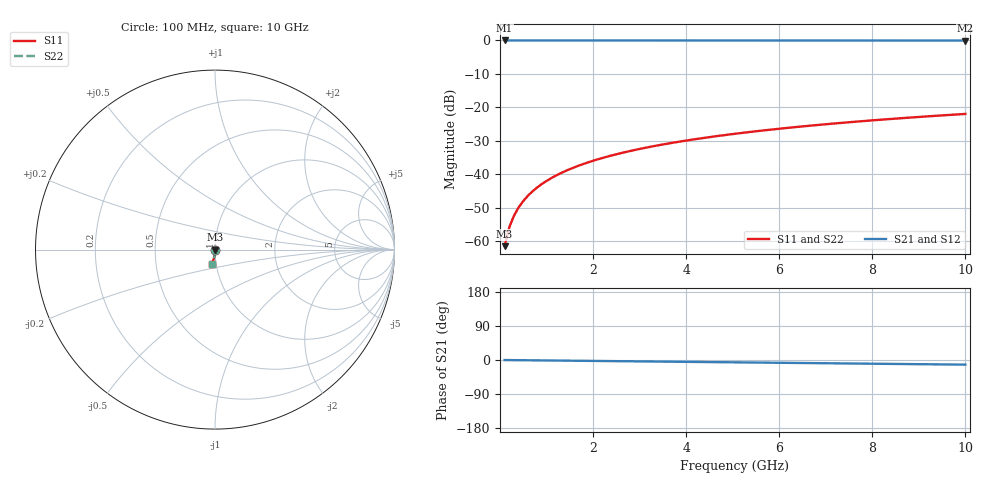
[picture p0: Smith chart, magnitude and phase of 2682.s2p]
# Hz S RI R 50.00
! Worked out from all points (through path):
!   100 points, 100 MHz to 10 GHz, reference 50 ohm
!   highest |S21| = 0.00 dB at 100 MHz (marker M1); lowest = 0.0 dB at 10 GHz (marker M2)
!   group delay of S21, straight-line fit = 3.41 ps
!   lowest |S11| = -61.4 dB at 100 MHz (marker M3), VSWR 1.00, Z = 50 - j0.0798 ohm
!   |S11| at or under -10 dB: start of sweep to end of sweep
!   |S22| runs from -61.4 to -21.9 dB; largest |S21 - S12| = 0
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1e8  0.000287 -0.000797  0.9997 -0.00212  0.9997 -0.00212  0.000287 -0.000797
2e8  0.000282 -0.00159  0.9997 -0.00424  0.9997 -0.00424  0.000282 -0.00159
3e8  0.000274 -0.00239  0.9997 -0.00636  0.9997 -0.00636  0.000274 -0.00239
4e8  0.000262 -0.00319  0.9997 -0.00848  0.9997 -0.00848  0.000262 -0.00319
5e8  0.000246 -0.00399  0.9996 -0.0106  0.9996 -0.0106  0.000246 -0.00399
6e8  0.000227 -0.00479  0.9996 -0.0127  0.9996 -0.0127  0.000227 -0.00479
7e8  0.000204 -0.00558  0.9996 -0.0148  0.9996 -0.0148  0.000204 -0.00558
8e8  0.000178 -0.00638  0.9995 -0.017  0.9995 -0.017  0.000178 -0.00638
9e8  0.000149 -0.00718  0.9995 -0.0191  0.9995 -0.0191  0.000149 -0.00718
1.1e9  7.96e-05 -0.00877  0.9994 -0.0233  0.9994 -0.0233  7.96e-05 -0.00877
1.4e9  -4.99e-05 -0.0112  0.9992 -0.0297  0.9992 -0.0297  -4.99e-05 -0.0112
1.8e9  -0.00027 -0.0144  0.9988 -0.0382  0.9988 -0.0382  -0.00027 -0.0144
2.1e9  -0.000472 -0.0168  0.9985 -0.0446  0.9985 -0.0446  -0.000472 -0.0168
2.5e9  -0.000788 -0.0199  0.998 -0.0531  0.998 -0.0531  -0.000788 -0.0199
2.9e9  -0.00116 -0.0231  0.9975 -0.0615  0.9975 -0.0615  -0.00116 -0.0231
3.4e9  -0.0017 -0.0271  0.9967 -0.0722  0.9967 -0.0722  -0.0017 -0.0271
4.2e9  -0.00274 -0.0335  0.9951 -0.0892  0.9951 -0.0892  -0.00274 -0.0335
5.1e9  -0.00418 -0.0406  0.9929 -0.1083  0.9929 -0.1083  -0.00418 -0.0406
5.9e9  -0.00569 -0.0469  0.9906 -0.1252  0.9906 -0.1252  -0.00569 -0.0469
6.7e9  -0.00741 -0.0531  0.988 -0.1422  0.988 -0.1422  -0.00741 -0.0531
8.4e9  -0.0118 -0.0662  0.9813 -0.1781  0.9813 -0.1781  -0.0118 -0.0662
1e10  -0.0168 -0.0782  0.9736 -0.2117  0.9736 -0.2117  -0.0168 -0.0782
